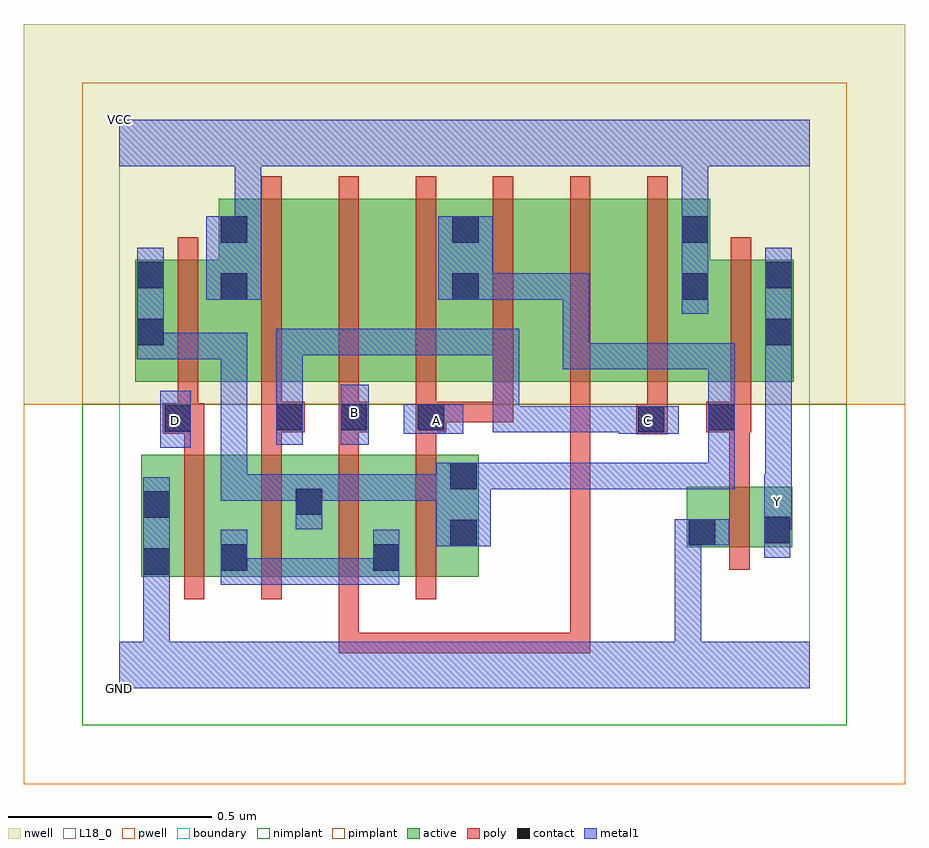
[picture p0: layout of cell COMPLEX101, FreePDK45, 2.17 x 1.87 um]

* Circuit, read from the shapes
.subckt COMPLEX101 A B C D GND VCC Y
M1 n1 D GND VSUBS nfet w=0.3u l=0.05u
M2 n2 C n1 VSUBS nfet w=0.3u l=0.05u
M3 n1 B n2 VSUBS nfet w=0.3u l=0.05u
M4 n2 A n1 VSUBS nfet w=0.3u l=0.05u
M5 Y n2 GND VSUBS nfet w=0.15u l=0.05u
M6 VCC D n2 n3 pfet w=0.3u l=0.05u
M7 n4 C VCC n3 pfet w=0.45u l=0.05u
M8 n5 B n4 n3 pfet w=0.45u l=0.05u
M9 n2 A n5 n3 pfet w=0.45u l=0.05u
M10 n6 A n2 n3 pfet w=0.45u l=0.05u
M11 n7 B n6 n3 pfet w=0.45u l=0.05u
M12 VCC C n7 n3 pfet w=0.45u l=0.05u
M13 Y n2 VCC n3 pfet w=0.3u l=0.05u
.ends

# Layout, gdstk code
import gdstk
lib = gdstk.Library(unit=1e-6, precision=1e-09)
def R(c, l, rs):  # rectangles x0, y0, x1, y1
    for r in rs: c.add(gdstk.rectangle(r[:2], r[2:], *l))
def A(c, l, x, y, w, h, nx, ny, dx, dy):  # array of equal rectangles
    R(c, l, [(x+i*dx, y+j*dy, x+i*dx+w, y+j*dy+h) for i in range(nx) for j in range(ny)])
active = (1, 0)
pwell = (2, 0)
nwell = (3, 0)
nimplant = (4, 0)
pimplant = (5, 0)
poly = (9, 0)
contact = (10, 0)
metal1 = (11, 0)
L18_0 = (18, 0)
boundary = (235, 0)

complex101 = lib.new_cell('COMPLEX101')
R(complex101, active, [(0.055,0.275,0.32,0.575), (0.055,0.275,0.13,0.575), (0.245,0.275,0.505,0.575), (0.43,0.275,0.695,0.575), (0.62,0.275,0.885,0.575), (0.245,0.285,0.32,0.547), (0.62,0.285,0.695,0.547), (0.43,0.345,0.505,0.497), (0.81,0.345,0.885,0.575), (1.397,0.347,1.472,0.497), (1.397,0.347,1.657,0.497), (1.582,0.347,1.657,0.497), (0.04,0.755,0.115,1.055), (0.04,0.755,0.32,1.055), (0.245,0.755,0.32,1.205), (0.245,0.755,0.47,1.205), (0.47,0.755,0.66,1.205), (0.66,0.755,0.89,1.205), (0.815,0.755,1.04,1.205), (1.04,0.755,1.23,1.205), (1.23,0.755,1.455,1.205), (1.38,0.755,1.66,1.055), (1.38,0.755,1.455,1.205), (1.585,0.755,1.66,1.055), (0.815,0.857,0.89,1.2)])
R(complex101, pwell, [(-0.235,-0.235,1.935,0.7)])
R(complex101, nwell, [(-0.235,0.7,1.935,1.635)])
R(complex101, nimplant, [(-0.09,-0.09,1.79,0.7)])
R(complex101, pimplant, [(-0.09,0.7,1.79,1.49)])
A(complex101, poly, 0.16, 0.22, 0.05, 0.41, 4, 1, 0.19, 0)
A(complex101, poly, 0.35, 0.58, 0.05, 0.1, 3, 1, 0.19, 0)
A(complex101, poly, 0.35, 0.655, 0.05, 0.095, 5, 1, 0.19, 0)
A(complex101, poly, 0.35, 0.7, 0.05, 0.56, 6, 1, 0.19, 0)
R(complex101, poly, [(0.54,0.087,0.59,0.137), (0.54,0.087,0.837,0.137), (0.54,0.087,0.59,0.27), (0.787,0.087,0.837,0.137), (0.787,0.087,0.837,0.137), (0.787,0.087,0.837,0.137), (0.787,0.087,1.027,0.137), (0.977,0.087,1.027,0.137), (0.977,0.087,1.027,0.137), (0.977,0.087,1.027,0.137), (0.977,0.087,1.16,0.137), (1.11,0.087,1.16,0.705), (1.11,0.087,1.16,0.137), (1.11,0.087,1.16,0.137), (1.11,0.087,1.16,0.137), (1.11,0.087,1.16,0.137), (1.11,0.087,1.16,0.137), (1.11,0.087,1.16,0.137), (1.11,0.087,1.16,0.137), (1.11,0.087,1.16,0.137), (1.11,0.087,1.16,0.137), (1.502,0.292,1.552,0.552), (1.502,0.502,1.552,0.68), (0.16,0.58,0.21,0.677), (1.272,0.625,1.35,0.7), (0.107,0.627,0.21,0.702), (0.35,0.63,0.457,0.705), (0.54,0.63,0.615,0.705), (0.73,0.63,0.805,0.705), (1.445,0.63,1.555,0.705), (1.3,0.65,1.35,0.75), (0.145,0.652,0.195,0.75), (0.755,0.655,0.97,0.705), (0.92,0.655,0.97,0.705), (0.92,0.655,0.97,0.705), (0.92,0.655,0.97,0.705), (1.11,0.655,1.16,0.705), (1.505,0.655,1.555,0.75), (0.145,0.7,0.195,1.11), (1.505,0.7,1.555,1.11)])
R(complex101, contact, [(0.06,0.28,0.125,0.345), (0.25,0.29,0.315,0.355), (0.625,0.29,0.69,0.355), (0.815,0.35,0.88,0.415), (1.402,0.352,1.467,0.417), (1.587,0.357,1.652,0.422), (0.06,0.42,0.125,0.485), (0.435,0.427,0.5,0.492), (0.815,0.49,0.88,0.555), (1.277,0.63,1.342,0.695), (0.112,0.632,0.177,0.697), (0.387,0.635,0.452,0.7), (0.545,0.635,0.61,0.7), (0.735,0.635,0.8,0.7), (1.45,0.635,1.515,0.7), (0.045,0.845,0.11,0.91), (1.59,0.845,1.655,0.91), (0.25,0.957,0.315,1.022), (0.82,0.957,0.885,1.022), (1.385,0.957,1.45,1.022), (0.045,0.985,0.11,1.05), (1.59,0.985,1.655,1.05), (0.25,1.097,0.315,1.162), (0.82,1.097,0.885,1.162), (1.385,1.097,1.45,1.162)])
R(complex101, metal1, [(0,0,1.7,0.115), (0.06,0.05,0.125,0.115), (0.06,0.05,0.125,0.115), (0.06,0.05,0.125,0.115), (0.06,0.05,0.125,0.115), (0.06,0.05,0.125,0.31), (1.367,0.05,1.432,0.115), (1.367,0.05,1.432,0.115), (1.367,0.05,1.432,0.115), (1.367,0.05,1.432,0.115), (1.367,0.05,1.432,0.417), (0.06,0.245,0.125,0.52), (0.25,0.255,0.315,0.32), (0.25,0.255,0.315,0.32), (0.25,0.255,0.315,0.39), (0.25,0.255,0.452,0.32), (0.387,0.255,0.452,0.32), (0.387,0.255,0.59,0.32), (0.525,0.255,0.59,0.32), (0.525,0.255,0.69,0.32), (0.625,0.255,0.69,0.39), (1.587,0.322,1.652,0.457), (0.78,0.35,0.915,0.555), (1.367,0.352,1.432,0.417), (1.367,0.352,1.432,0.417), (1.367,0.352,1.502,0.417), (0.435,0.392,0.5,0.527), (1.587,0.392,1.652,0.457), (1.587,0.392,1.655,0.527), (0.25,0.462,0.315,0.875), (0.25,0.462,0.315,0.527), (0.25,0.462,0.315,0.527), (0.25,0.462,0.315,0.527), (0.25,0.462,0.315,0.527), (0.25,0.462,0.315,0.527), (0.25,0.462,0.5,0.527), (0.435,0.462,0.627,0.527), (0.562,0.462,0.627,0.527), (0.562,0.462,0.637,0.527), (0.572,0.462,0.637,0.527), (0.572,0.462,0.845,0.527), (0.78,0.462,0.845,0.527), (0.78,0.462,0.845,0.527), (1.59,0.462,1.655,0.875), (0.85,0.49,0.985,0.555), (0.92,0.49,0.985,0.555), (0.92,0.49,1.157,0.555), (1.092,0.49,1.157,0.555), (1.092,0.49,1.157,0.555), (1.092,0.49,1.157,0.555), (1.092,0.49,1.295,0.555), (1.23,0.49,1.295,0.555), (1.23,0.49,1.295,0.555), (1.23,0.49,1.295,0.555), (1.23,0.49,1.515,0.555), (1.45,0.49,1.515,0.555), (1.45,0.49,1.515,0.735), (0.102,0.592,0.177,0.732), (0.387,0.6,0.452,0.735), (0.545,0.6,0.615,0.747), (1.45,0.6,1.515,0.735), (0.7,0.627,0.847,0.7), (1.23,0.627,1.377,0.695), (0.92,0.63,0.985,0.695), (0.92,0.63,0.985,0.695), (0.92,0.63,0.985,0.695), (0.92,0.63,1.157,0.695), (0.92,0.63,0.985,0.885), (1.092,0.63,1.157,0.695), (1.092,0.63,1.157,0.695), (1.092,0.63,1.157,0.695), (1.092,0.63,1.295,0.695), (1.23,0.63,1.295,0.695), (1.23,0.63,1.295,0.695), (0.387,0.67,0.452,0.735), (0.387,0.67,0.452,0.735), (0.387,0.67,0.452,0.885), (1.45,0.67,1.515,0.735), (1.45,0.67,1.515,0.735), (1.45,0.67,1.515,0.85), (1.092,0.785,1.157,0.85), (1.092,0.785,1.157,0.85), (1.092,0.785,1.157,0.85), (1.092,0.785,1.295,0.85), (1.092,0.785,1.157,1.022), (1.23,0.785,1.295,0.85), (1.23,0.785,1.295,0.85), (1.23,0.785,1.295,0.85), (1.23,0.785,1.515,0.85), (1.45,0.785,1.515,0.85), (0.045,0.81,0.11,1.085), (0.045,0.81,0.11,0.875), (0.045,0.81,0.11,0.875), (0.045,0.81,0.315,0.875), (0.25,0.81,0.315,0.875), (1.59,0.81,1.655,1.085), (0.387,0.82,0.452,0.885), (0.387,0.82,0.627,0.885), (0.562,0.82,0.627,0.885), (0.562,0.82,0.637,0.885), (0.572,0.82,0.637,0.885), (0.572,0.82,0.845,0.885), (0.78,0.82,0.845,0.885), (0.78,0.82,0.985,0.885), (0.92,0.82,0.985,0.885), (1.385,0.922,1.45,1.197), (0.215,0.957,0.35,1.162), (0.785,0.957,0.92,1.162), (0.855,0.957,0.985,1.022), (0.92,0.957,0.985,1.022), (0.92,0.957,1.157,1.022), (1.092,0.957,1.157,1.022), (0.285,1.097,0.35,1.35), (1.385,1.132,1.45,1.35), (0,1.285,1.7,1.4)])
R(complex101, L18_0, [(0,0,1.7,0.115), (0.06,0.05,0.125,0.115), (0.06,0.05,0.125,0.115), (0.06,0.05,0.125,0.115), (0.06,0.05,0.125,0.115), (0.06,0.05,0.125,0.31), (1.367,0.05,1.432,0.115), (1.367,0.05,1.432,0.115), (1.367,0.05,1.432,0.115), (1.367,0.05,1.432,0.115), (1.367,0.05,1.432,0.417), (0.06,0.245,0.125,0.52), (1.587,0.322,1.652,0.457), (1.367,0.352,1.432,0.417), (1.367,0.352,1.432,0.417), (1.367,0.352,1.502,0.417), (1.587,0.392,1.652,0.457), (1.587,0.392,1.655,0.527), (1.587,0.427,1.652,0.492), (1.59,0.462,1.655,0.875), (0.102,0.592,0.177,0.732), (0.387,0.6,0.452,0.735), (0.545,0.6,0.615,0.747), (0.107,0.627,0.172,0.692), (0.7,0.627,0.847,0.7), (0.747,0.627,0.812,0.692), (1.23,0.627,1.377,0.695), (1.267,0.627,1.332,0.692), (0.92,0.63,0.985,0.695), (0.92,0.63,0.985,0.695), (0.92,0.63,0.985,0.695), (0.92,0.63,0.985,0.885), (0.92,0.63,1.157,0.695), (1.092,0.63,1.157,0.695), (1.092,0.63,1.157,0.695), (1.092,0.63,1.157,0.695), (1.092,0.63,1.295,0.695), (1.23,0.63,1.295,0.695), (1.23,0.63,1.295,0.695), (0.547,0.647,0.612,0.712), (0.387,0.67,0.452,0.735), (0.387,0.67,0.452,0.735), (0.387,0.67,0.452,0.885), (1.59,0.81,1.655,1.085), (0.387,0.82,0.452,0.885), (0.387,0.82,0.627,0.885), (0.562,0.82,0.627,0.885), (0.562,0.82,0.637,0.885), (0.572,0.82,0.637,0.885), (0.572,0.82,0.845,0.885), (0.78,0.82,0.845,0.885), (0.78,0.82,0.985,0.885), (0.92,0.82,0.985,0.885), (1.385,0.922,1.45,1.197), (0.215,0.957,0.35,1.162), (0.285,1.097,0.35,1.35), (1.385,1.132,1.45,1.35), (0,1.285,1.7,1.4)])
R(complex101, boundary, [(0,0,1.7,1.4)])
complex101.add(gdstk.Label('A', (0.78,0.66), layer=11, texttype=0))
complex101.add(gdstk.Label('B', (0.58,0.68), layer=11, texttype=0))
complex101.add(gdstk.Label('C', (1.3,0.66), layer=11, texttype=0))
complex101.add(gdstk.Label('D', (0.14,0.66), layer=11, texttype=0))
complex101.add(gdstk.Label('Y', (1.62,0.46), layer=11, texttype=0))
complex101.add(gdstk.Label('VCC', (0,1.4), layer=11, texttype=0))
complex101.add(gdstk.Label('GND', (0,0), layer=11, texttype=0))

lib.write_gds('COMPLEX101.gds')
